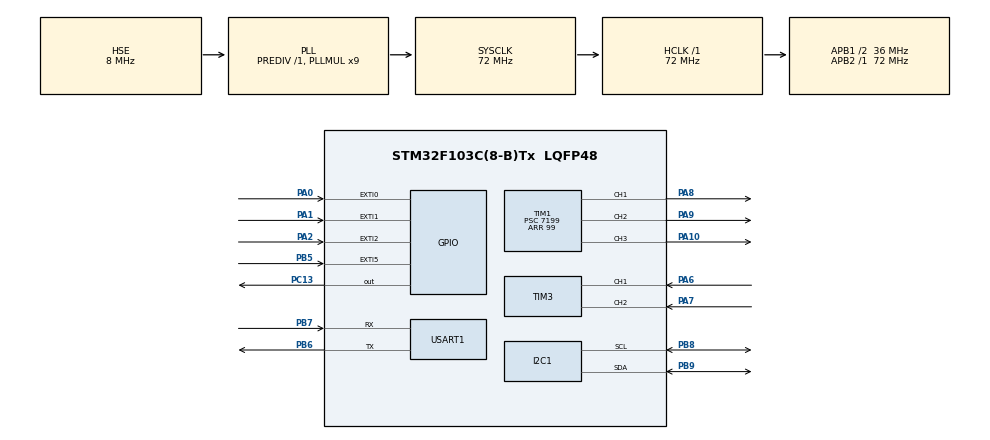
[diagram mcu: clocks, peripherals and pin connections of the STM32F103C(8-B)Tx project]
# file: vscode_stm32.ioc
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I2C1.I2C_Mode=I2C_Fast
Mcu.Family=STM32F1
Mcu.Name=STM32F103C(8-B)Tx
Mcu.Package=LQFP48
NVIC.EXTI0_IRQn=true\:0\:0\:true\:false\:true\:true\:true\:true
NVIC.EXTI1_IRQn=true\:0\:0\:false\:false\:true\:true\:true\:true
NVIC.EXTI2_IRQn=true\:0\:0\:false\:false\:true\:true\:true\:true
NVIC.EXTI9_5_IRQn=true\:0\:0\:false\:false\:true\:true\:true\:true
NVIC.PriorityGroup=NVIC_PRIORITYGROUP_4
NVIC.TIM2_IRQn=true\:0\:0\:false\:false\:true\:true\:true\:true
NVIC.USART1_IRQn=true\:0\:0\:false\:false\:true\:true\:true\:true
PA0-WKUP.GPIO_ModeDefaultEXTI=GPIO_MODE_IT_FALLING
PA0-WKUP.GPIO_PuPd=GPIO_PULLUP
PA0-WKUP.Signal=GPXTI0
PA1.GPIO_ModeDefaultEXTI=GPIO_MODE_IT_FALLING
PA1.GPIO_PuPd=GPIO_PULLUP
PA1.Signal=GPXTI1
PA10.Signal=S_TIM1_CH3
PA13.Mode=Serial_Wire
PA13.Signal=SYS_JTMS-SWDIO
PA14.Mode=Serial_Wire
PA14.Signal=SYS_JTCK-SWCLK
PA2.GPIO_ModeDefaultEXTI=GPIO_MODE_IT_FALLING
PA2.GPIO_PuPd=GPIO_PULLUP
PA2.Signal=GPXTI2
PA6.Signal=S_TIM3_CH1
PA7.Signal=S_TIM3_CH2
PA8.Signal=S_TIM1_CH1
PA9.Signal=S_TIM1_CH2
PB5.GPIO_ModeDefaultEXTI=GPIO_MODE_IT_FALLING
PB5.GPIO_PuPd=GPIO_PULLUP
PB5.Signal=GPXTI5
PB6.Mode=Asynchronous
PB6.Signal=USART1_TX
PB7.Mode=Asynchronous
PB7.Signal=USART1_RX
PB8.Mode=I2C
PB8.Signal=I2C1_SCL
PB9.Mode=I2C
PB9.Signal=I2C1_SDA
PC13-TAMPER-RTC.PinState=GPIO_PIN_SET
PC13-TAMPER-RTC.Signal=GPIO_Output
PD0-OSC_IN.Mode=HSE-External-Oscillator
PD0-OSC_IN.Signal=RCC_OSC_IN
PD1-OSC_OUT.Mode=HSE-External-Oscillator
PD1-OSC_OUT.Signal=RCC_OSC_OUT
ProjectManager.HeapSize=0x200
ProjectManager.StackSize=0x400
ProjectManager.TargetToolchain=CMake
RCC.AHBFreq_Value=72000000
RCC.APB1CLKDivider=RCC_HCLK_DIV2
RCC.APB1Freq_Value=36000000
RCC.APB1TimFreq_Value=72000000
RCC.APB2Freq_Value=72000000
RCC.APB2TimFreq_Value=72000000
RCC.HCLKFreq_Value=72000000
RCC.PLLMUL=RCC_PLL_MUL9
RCC.PLLSourceVirtual=RCC_PLLSOURCE_HSE
RCC.SYSCLKFreq_VALUE=72000000
RCC.SYSCLKSource=RCC_SYSCLKSOURCE_PLLCLK
RCC.USBFreq_Value=72000000
SH.S_TIM1_CH1.0=TIM1_CH1,PWM Generation1 CH1
SH.S_TIM1_CH2.0=TIM1_CH2,PWM Generation2 CH2
SH.S_TIM1_CH3.0=TIM1_CH3,PWM Generation3 CH3
SH.S_TIM3_CH1.0=TIM3_CH1,Encoder_Interface
SH.S_TIM3_CH2.0=TIM3_CH2,Encoder_Interface
TIM1.AutoReloadPreload=TIM_AUTORELOAD_PRELOAD_ENABLE
TIM1.Channel-PWM\ Generation1\ CH1=TIM_CHANNEL_1
TIM1.Channel-PWM\ Generation2\ CH2=TIM_CHANNEL_2
TIM1.Channel-PWM\ Generation3\ CH3=TIM_CHANNEL_3
TIM1.Period=99
TIM1.Prescaler=7199
TIM2.Prescaler=7199
TIM3.AutoReloadPreload=TIM_AUTORELOAD_PRELOAD_DISABLE
TIM3.ClockDivision=TIM_CLOCKDIVISION_DIV1
TIM3.EncoderMode=TIM_ENCODERMODE_TI12
TIM3.TIM_MasterSlaveMode=TIM_MASTERSLAVEMODE_DISABLE
USART1.VirtualMode=VM_ASYNC
VP_TIM2_VS_ClockSourceINT.Mode=Internal
board=custom

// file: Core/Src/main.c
/* USER CODE BEGIN Header */
/**
  ******************************************************************************
  * @file           : main.c
  * @brief          : Main program body
  ******************************************************************************
  * @attention
  *
  * Copyright (c) 2026 STMicroelectronics.
  * All rights reserved.
  *
  * This software is licensed under terms that can be found in the LICENSE file
  * in the root directory of this software component.
  * If no LICENSE file comes with this software, it is provided AS-IS.
  *
  ******************************************************************************
  */
/* USER CODE END Header */
#include "main.h"

/* USER CODE BEGIN Includes */
#include "stm32f103xb.h"
#include "stm32f1xx_hal.h"
#include "stm32f1xx_hal_def.h"
#include "stm32f1xx_hal_gpio.h"
#include "stm32f1xx_hal_i2c.h"
#include "stm32f1xx_hal_uart.h"
#include "stm32f1xx_hal_tim.h"
#include "stm32f1xx_hal_tim_ex.h"
#include <stdint.h>
#include <stdio.h>
#include <string.h>
#include <sys/_intsup.h>
#include "OLED.h"
/* USER CODE END Includes */

I2C_HandleTypeDef hi2c1;

TIM_HandleTypeDef htim1;
TIM_HandleTypeDef htim2;
TIM_HandleTypeDef htim3;

UART_HandleTypeDef huart1;

/* USER CODE BEGIN PV */
/* ===== 串口收数字用 ===== */
uint8_t num_buf[10];
uint8_t num_idx = 0;

/* ===== 系统工作模式 ===== */
typedef enum {
    mode_idle = 0,
    mode_running = 1,
    mode_load = 2,
    mode_shark = 3
} system_mode_t;

/* ===== 编码器工作模式 ===== */
typedef enum {
    led_default_mode = 0,
    led_brights_mode,
    led_turn_mode
} turn_mode_t;

/* ===== 编码器 / PWM 变量 ===== */
volatile turn_mode_t led_mode = led_default_mode;
volatile uint32_t t3_last_cnt = 0;
volatile uint8_t mode_press_flag = 0;
volatile uint8_t led_bright = 50;
volatile uint8_t encoder_flag = 0;

/* ===== LED模式变量 ===== */
volatile system_mode_t current_mode = mode_idle;
system_mode_t last_mode = (system_mode_t)99;   /* 初始设成"不等于任何模式"，让OLED首次刷新成立 */

/* ===== 按键中断变量 ===== */
volatile uint8_t key_press = 0;
volatile uint8_t system_state = 0;

/* ===== 串口通信变量 ===== */
volatile uint8_t receive_status = 0;
const char *mode_name[] = {"IDLE", "RUNNING", "LOAD", "SHARK"};
uint8_t rx_buffer[1];
uint32_t last_uart_tick = 0;

/* ===== OLED按需刷新 ===== */
uint8_t last_bright = 0;
turn_mode_t last_led_mode = (turn_mode_t)99;  /* 初始特殊值，确保首次刷新成立 */

/* ===== 板载LED非阻塞闪烁 ===== */
volatile uint16_t bright_speed = 500;
uint32_t last_led_tick = 0;
uint32_t blink_timer = 0;
/* USER CODE END PV */

void SystemClock_Config(void);
static void MX_GPIO_Init(void);
static void MX_USART1_UART_Init(void);
static void MX_I2C1_Init(void);
static void MX_TIM1_Init(void);
static void MX_TIM3_Init(void);
static void MX_TIM2_Init(void);
/* USER CODE BEGIN PFP */
void Serial_ProcessChar(uint8_t ch);  // 串口命令处理函数声明
/* USER CODE END PFP */

int main(void)
{

  /* MCU Configuration--------------------------------------------------------*/

  /* Reset of all peripherals, Initializes the Flash interface and the Systick. */
  HAL_Init();

  /* Configure the system clock */
  SystemClock_Config();

  /* Initialize all configured peripherals */
  MX_GPIO_Init();
  MX_USART1_UART_Init();
  MX_I2C1_Init();
  MX_TIM1_Init();
  MX_TIM3_Init();
  MX_TIM2_Init();
  /* USER CODE BEGIN 2 */
  /* ========== 关键修复：强制把EXTI线5映射到GPIOB ==========
       STM32F1每条EXTI线(0-15)需要配置它连到哪个端口
       AFIO_EXTICR2寄存器的bit[10:8]控制EXTI5:
         000 = GPIOA (默认)
         001 = GPIOB  ← 我们需要
       PA0/PA1/PA2在EXTI0/1/2，它们默认映射GPIOA所以正常
       PB5在EXTI5，如果不改配置，按下PB5永远触发不了中断！ */
    __HAL_RCC_AFIO_CLK_ENABLE();            /* 先开AFIO时钟（CubeMX可能漏了） */
    AFIO->EXTICR[1] &= ~(0x7 << 8);          /* 清bit[10:8] */
    AFIO->EXTICR[1] |=  (0x1 << 8);          /* 设为001 = 映射到GPIOB */

    /* OLED初始化 */
    OLED_Init();
    OLED_ShowString(1, 1, "LED CONTROL");

    /* TIM2定时上报（每2秒中断一次） */
    HAL_TIM_Base_Start_IT(&htim2);

    /* TIM3编码器模式（PA6/PA7） */
    HAL_TIM_Encoder_Start(&htim3, TIM_CHANNEL_ALL);

    /* TIM1 PWM模式（PA8/PA9/PA10 = 3路灯珠） */
    HAL_TIM_PWM_Start(&htim1, TIM_CHANNEL_1);
    HAL_TIM_PWM_Start(&htim1, TIM_CHANNEL_2);
    HAL_TIM_PWM_Start(&htim1, TIM_CHANNEL_3);

    /* 设置初始占空比 = led_bright(50) */
    __HAL_TIM_SET_COMPARE(&htim1, TIM_CHANNEL_1, led_bright);
    __HAL_TIM_SET_COMPARE(&htim1, TIM_CHANNEL_2, led_bright);
    __HAL_TIM_SET_COMPARE(&htim1, TIM_CHANNEL_3, led_bright);

    /* 开启串口中断接收 */
    HAL_UART_Receive_IT(&huart1, rx_buffer, 1);

    /* 记录编码器初始值 */
    t3_last_cnt = TIM3->CNT;
  /* USER CODE END 2 */

  /* Infinite loop */
  /* USER CODE BEGIN WHILE */
  while (1) {

    uint32_t now_cnt = TIM3->CNT;
    uint32_t now = HAL_GetTick();

    /* ===== 板载LED非阻塞闪烁 ===== */
   if (now - last_led_tick >= bright_speed) {
        HAL_GPIO_TogglePin(GPIOC, GPIO_PIN_13);
        last_led_tick = now;
    }

    // 快闪1秒后恢复慢闪
    if (bright_speed == 300 && (now - blink_timer) > 2000) {  // 快闪2秒后恢复，速度从100ms放宽到300ms
        bright_speed = 500;
    }

    /* ===== 编码器处理：根据 led_mode 执行不同操作 ===== */
    switch (led_mode) {
        case led_default_mode:
            /* 不响应旋转 */
            break;

        case led_brights_mode:
            /* 旋转 → 调亮度(步进5) */
            if (now_cnt > t3_last_cnt) {
                if (led_bright < 99) {
                    led_bright += 5;
                    encoder_flag = 1;
                }
            } else if (now_cnt < t3_last_cnt) {
                if (led_bright > 0) {
                    led_bright -= 5;
                    encoder_flag = 1;
                }
            }
            __HAL_TIM_SET_COMPARE(&htim1, TIM_CHANNEL_1, led_bright);
            __HAL_TIM_SET_COMPARE(&htim1, TIM_CHANNEL_2, led_bright);
            __HAL_TIM_SET_COMPARE(&htim1, TIM_CHANNEL_3, led_bright);
            break;

        case led_turn_mode:
            /* 旋转 → 切模式 */
            if (now_cnt > t3_last_cnt) {
                current_mode = (current_mode + 1) % 4;
                encoder_flag = 1;
            } else if (now_cnt < t3_last_cnt) {
                current_mode = (current_mode - 1 + 4) % 4;
                encoder_flag = 1;
            }
            break;

        default:
            break;
    }
    t3_last_cnt = now_cnt;

    /* ===== 编码器按键(PB5)：切 led_mode ===== */
    if (mode_press_flag != 0) {
        led_mode = (led_mode + 1) % 3;  /* 循环切换编码器模式：default → brights → turn → default */
        encoder_flag = 1;                /* 触发板载LED快闪反馈，让用户知道操作成功 */

        /* 新增：按下PB5后，串口同步通知电脑当前编码器模式，
           避免之前"切了模式但串口永远显示IDLE"的问题 */
        {
            char send_buf[60];
            switch (led_mode) {
                case led_default_mode:  sprintf(send_buf, "Encoder: IDLE (rotary does nothing)\r\n"); break;
                case led_brights_mode: sprintf(send_buf, "Encoder: BRIGHT (rotary adjusts brightness)\r\n"); break;
                case led_turn_mode:    sprintf(send_buf, "Encoder: MODE (rotary changes LED pattern)\r\n"); break;
            }
            HAL_UART_Transmit(&huart1, (uint8_t*)send_buf, strlen(send_buf), HAL_MAX_DELAY);
        }

        mode_press_flag = 0;
        system_state = 0;                /* 必须重置，否则下一次按键进不了中断 */
    }

    /* ===== 编码器操作成功反馈：板载LED快闪1秒 ===== */
    if (encoder_flag != 0) {
        bright_speed = 300;//编码器操作反馈：300ms翻转一次，比原来慢3倍，看得更清楚
        blink_timer = HAL_GetTick();
        encoder_flag = 0;
    }

    /* ===== OLED模式刷新：只有 current_mode 变了才重画 ===== */
    if (current_mode != last_mode) {
        OLED_Clear();
        OLED_ShowString(1, 1, "LED CONTROL");
        switch (current_mode) {
            case mode_idle:    OLED_ShowString(2, 1, "Mode: IDLE   "); break;
            case mode_running: OLED_ShowString(2, 1, "Mode: RUNNING"); break;
            case mode_load:    OLED_ShowString(2, 1, "Mode: LOAD   "); break;
            case mode_shark:   OLED_ShowString(2, 1, "Mode: SHARK  "); break;
        }
        last_mode = current_mode;
    }

    /* ===== OLED亮度刷新：只有亮度变了才刷新 ===== */
    if (led_bright != last_bright) {
        char buf[20];
        sprintf(buf, "BRIGHT: %d   ", led_bright);
        OLED_ShowString(3, 1, buf);
        last_bright = led_bright;
    }

    /* ===== OLED编码器模式刷新：第4行显示当前编码器模式 ===== */
    if (led_mode != last_led_mode) {
        switch (led_mode) {
            case led_default_mode:
                OLED_ShowString(4, 1, "ENC: IDLE    ");
                break;
            case led_brights_mode:
                OLED_ShowString(4, 1, "ENC: BRIGHT  ");
                break;
            case led_turn_mode:
                OLED_ShowString(4, 1, "ENC: MODE    ");
                break;
        }
        last_led_mode = led_mode;
    }

    /* ===== 板载按键(PA0/PA1/PA2)：直接切模式 ===== */
    if (key_press != 0) {
        uint8_t key = key_press;
        HAL_Delay(20);
        GPIO_PinState level = GPIO_PIN_SET;
        if (key == 1)       level = HAL_GPIO_ReadPin(GPIOA, GPIO_PIN_0);
        else if (key == 2)  level = HAL_GPIO_ReadPin(GPIOA, GPIO_PIN_1);
        else if (key == 3)  level = HAL_GPIO_ReadPin(GPIOA, GPIO_PIN_2);

        if (level == GPIO_PIN_RESET) {
            switch (key) {
                case 1: current_mode = mode_running; break;
                case 2: current_mode = mode_load;    break;
                case 3: current_mode = mode_shark;   break;
            }
        }
        system_state = 0;
        key_press = 0;帮我检查当前代码，如果没坏的话，最好是能够正常实现项目效果。
    }

    /* ===== LED灯珠动画（各模式） ===== */
    switch (current_mode) {
        case mode_idle:
            /* 全灭 */
            __HAL_TIM_SET_COMPARE(&htim1, TIM_CHANNEL_1, 0);
            __HAL_TIM_SET_COMPARE(&htim1, TIM_CHANNEL_2, 0);
            __HAL_TIM_SET_COMPARE(&htim1, TIM_CHANNEL_3, 0);
            break;

        case mode_running:
            /* 流水灯：PA8 → PA9 → PA10 */
            __HAL_TIM_SET_COMPARE(&htim1, TIM_CHANNEL_1, led_bright);
            HAL_Delay(200);
            __HAL_TIM_SET_COMPARE(&htim1, TIM_CHANNEL_1, 0);

            __HAL_TIM_SET_COMPARE(&htim1, TIM_CHANNEL_2, led_bright);
            HAL_Delay(200);
            __HAL_TIM_SET_COMPARE(&htim1, TIM_CHANNEL_2, 0);

            __HAL_TIM_SET_COMPARE(&htim1, TIM_CHANNEL_3, led_bright);
            HAL_Delay(200);
            __HAL_TIM_SET_COMPARE(&htim1, TIM_CHANNEL_3, 0);

            HAL_Delay(300);
            break;

        case mode_shark:
            /* 两端 vs 中间：PA8+PA10 ↔ PA9 */
            __HAL_TIM_SET_COMPARE(&htim1, TIM_CHANNEL_1, led_bright);
            __HAL_TIM_SET_COMPARE(&htim1, TIM_CHANNEL_3, led_bright);
            __HAL_TIM_SET_COMPARE(&htim1, TIM_CHANNEL_2, 0);
            HAL_Delay(300);

            __HAL_TIM_SET_COMPARE(&htim1, TIM_CHANNEL_1, 0);
            __HAL_TIM_SET_COMPARE(&htim1, TIM_CHANNEL_3, 0);
            __HAL_TIM_SET_COMPARE(&htim1, TIM_CHANNEL_2, led_bright);
            HAL_Delay(300);
            break;

        case mode_load:
            /* 全亮 */
            __HAL_TIM_SET_COMPARE(&htim1, TIM_CHANNEL_1, led_bright);
            __HAL_TIM_SET_COMPARE(&htim1, TIM_CHANNEL_2, led_bright);
            __HAL_TIM_SET_COMPARE(&htim1, TIM_CHANNEL_3, led_bright);
            break;
    }

    /* ===== 串口命令处理 ===== */
    if (receive_status != 0) {
        Serial_ProcessChar(rx_buffer[0]);
        receive_status = 0;
    }

    /* ===== 串口2秒定时上报 ===== */
    if (HAL_GetTick() - last_uart_tick >= 2000) {
        char buf1[40];
        sprintf(buf1, "Current Brightness = %d\r\n", led_bright);
        HAL_UART_Transmit(&huart1, (uint8_t*)buf1, strlen(buf1), HAL_MAX_DELAY);
        last_uart_tick = HAL_GetTick();
    }
}
    /* USER CODE END WHILE */

}

void SystemClock_Config(void)
{
  RCC_OscInitTypeDef RCC_OscInitStruct = {0};
  RCC_ClkInitTypeDef RCC_ClkInitStruct = {0};

  /** Initializes the RCC Oscillators according to the specified parameters
  * in the RCC_OscInitTypeDef structure.
  */
  RCC_OscInitStruct.OscillatorType = RCC_OSCILLATORTYPE_HSE;
  RCC_OscInitStruct.HSEState = RCC_HSE_ON;
  RCC_OscInitStruct.HSEPredivValue = RCC_HSE_PREDIV_DIV1;
  RCC_OscInitStruct.HSIState = RCC_HSI_ON;
  RCC_OscInitStruct.PLL.PLLState = RCC_PLL_ON;
  RCC_OscInitStruct.PLL.PLLSource = RCC_PLLSOURCE_HSE;
  RCC_OscInitStruct.PLL.PLLMUL = RCC_PLL_MUL9;
  if (HAL_RCC_OscConfig(&RCC_OscInitStruct) != HAL_OK)
  {
    Error_Handler();
  }

  /** Initializes the CPU, AHB and APB buses clocks
  */
  RCC_ClkInitStruct.ClockType = RCC_CLOCKTYPE_HCLK|RCC_CLOCKTYPE_SYSCLK
                              |RCC_CLOCKTYPE_PCLK1|RCC_CLOCKTYPE_PCLK2;
  RCC_ClkInitStruct.SYSCLKSource = RCC_SYSCLKSOURCE_PLLCLK;
  RCC_ClkInitStruct.AHBCLKDivider = RCC_SYSCLK_DIV1;
  RCC_ClkInitStruct.APB1CLKDivider = RCC_HCLK_DIV2;
  RCC_ClkInitStruct.APB2CLKDivider = RCC_HCLK_DIV1;

  if (HAL_RCC_ClockConfig(&RCC_ClkInitStruct, FLASH_LATENCY_2) != HAL_OK)
  {
    Error_Handler();
  }
}

static void MX_I2C1_Init(void)
{

  hi2c1.Instance = I2C1;
  hi2c1.Init.ClockSpeed = 400000;
  hi2c1.Init.DutyCycle = I2C_DUTYCYCLE_2;
  hi2c1.Init.OwnAddress1 = 0;
  hi2c1.Init.AddressingMode = I2C_ADDRESSINGMODE_7BIT;
  hi2c1.Init.DualAddressMode = I2C_DUALADDRESS_DISABLE;
  hi2c1.Init.OwnAddress2 = 0;
  hi2c1.Init.GeneralCallMode = I2C_GENERALCALL_DISABLE;
  hi2c1.Init.NoStretchMode = I2C_NOSTRETCH_DISABLE;
  if (HAL_I2C_Init(&hi2c1) != HAL_OK)
  {
    Error_Handler();
  }

}

static void MX_TIM1_Init(void)
{

  TIM_MasterConfigTypeDef sMasterConfig = {0};
  TIM_OC_InitTypeDef sConfigOC = {0};
  TIM_BreakDeadTimeConfigTypeDef sBreakDeadTimeConfig = {0};

  htim1.Instance = TIM1;
  htim1.Init.Prescaler = 7199;
  htim1.Init.CounterMode = TIM_COUNTERMODE_UP;
  htim1.Init.Period = 99;
  htim1.Init.ClockDivision = TIM_CLOCKDIVISION_DIV1;
  htim1.Init.RepetitionCounter = 0;
  htim1.Init.AutoReloadPreload = TIM_AUTORELOAD_PRELOAD_ENABLE;
  if (HAL_TIM_PWM_Init(&htim1) != HAL_OK)
  {
    Error_Handler();
  }
  sMasterConfig.MasterOutputTrigger = TIM_TRGO_RESET;
  sMasterConfig.MasterSlaveMode = TIM_MASTERSLAVEMODE_DISABLE;
  if (HAL_TIMEx_MasterConfigSynchronization(&htim1, &sMasterConfig) != HAL_OK)
  {
    Error_Handler();
  }
  sConfigOC.OCMode = TIM_OCMODE_PWM1;
  sConfigOC.Pulse = 0;
  sConfigOC.OCPolarity = TIM_OCPOLARITY_HIGH;
  sConfigOC.OCNPolarity = TIM_OCNPOLARITY_HIGH;
  sConfigOC.OCFastMode = TIM_OCFAST_DISABLE;
  sConfigOC.OCIdleState = TIM_OCIDLESTATE_RESET;
  sConfigOC.OCNIdleState = TIM_OCNIDLESTATE_RESET;
  if (HAL_TIM_PWM_ConfigChannel(&htim1, &sConfigOC, TIM_CHANNEL_1) != HAL_OK)
  {
    Error_Handler();
  }
  if (HAL_TIM_PWM_ConfigChannel(&htim1, &sConfigOC, TIM_CHANNEL_2) != HAL_OK)
  {
    Error_Handler();
  }
  if (HAL_TIM_PWM_ConfigChannel(&htim1, &sConfigOC, TIM_CHANNEL_3) != HAL_OK)
  {
    Error_Handler();
  }
  sBreakDeadTimeConfig.OffStateRunMode = TIM_OSSR_DISABLE;
  sBreakDeadTimeConfig.OffStateIDLEMode = TIM_OSSI_DISABLE;
  sBreakDeadTimeConfig.LockLevel = TIM_LOCKLEVEL_OFF;
  sBreakDeadTimeConfig.DeadTime = 0;
  sBreakDeadTimeConfig.BreakState = TIM_BREAK_DISABLE;
  sBreakDeadTimeConfig.BreakPolarity = TIM_BREAKPOLARITY_HIGH;
  sBreakDeadTimeConfig.AutomaticOutput = TIM_AUTOMATICOUTPUT_DISABLE;
  if (HAL_TIMEx_ConfigBreakDeadTime(&htim1, &sBreakDeadTimeConfig) != HAL_OK)
  {
    Error_Handler();
  }
  HAL_TIM_MspPostInit(&htim1);

}

static void MX_TIM2_Init(void)
{

  TIM_ClockConfigTypeDef sClockSourceConfig = {0};
  TIM_MasterConfigTypeDef sMasterConfig = {0};

  htim2.Instance = TIM2;
  htim2.Init.Prescaler = 7199;
  htim2.Init.CounterMode = TIM_COUNTERMODE_UP;
  htim2.Init.Period = 9999;
  htim2.Init.ClockDivision = TIM_CLOCKDIVISION_DIV1;
  htim2.Init.AutoReloadPreload = TIM_AUTORELOAD_PRELOAD_DISABLE;
  if (HAL_TIM_Base_Init(&htim2) != HAL_OK)
  {
    Error_Handler();
  }
  sClockSourceConfig.ClockSource = TIM_CLOCKSOURCE_INTERNAL;
  if (HAL_TIM_ConfigClockSource(&htim2, &sClockSourceConfig) != HAL_OK)
  {
    Error_Handler();
  }
  sMasterConfig.MasterOutputTrigger = TIM_TRGO_RESET;
  sMasterConfig.MasterSlaveMode = TIM_MASTERSLAVEMODE_DISABLE;
  if (HAL_TIMEx_MasterConfigSynchronization(&htim2, &sMasterConfig) != HAL_OK)
  {
    Error_Handler();
  }

}

static void MX_TIM3_Init(void)
{

  TIM_Encoder_InitTypeDef sConfig = {0};
  TIM_MasterConfigTypeDef sMasterConfig = {0};

  htim3.Instance = TIM3;
  htim3.Init.Prescaler = 0;
  htim3.Init.CounterMode = TIM_COUNTERMODE_UP;
  htim3.Init.Period = 65535;
  htim3.Init.ClockDivision = TIM_CLOCKDIVISION_DIV1;
  htim3.Init.AutoReloadPreload = TIM_AUTORELOAD_PRELOAD_DISABLE;
  sConfig.EncoderMode = TIM_ENCODERMODE_TI12;
  sConfig.IC1Polarity = TIM_ICPOLARITY_RISING;
  sConfig.IC1Selection = TIM_ICSELECTION_DIRECTTI;
  sConfig.IC1Prescaler = TIM_ICPSC_DIV1;
  sConfig.IC1Filter = 0;
  sConfig.IC2Polarity = TIM_ICPOLARITY_RISING;
  sConfig.IC2Selection = TIM_ICSELECTION_DIRECTTI;
  sConfig.IC2Prescaler = TIM_ICPSC_DIV1;
  sConfig.IC2Filter = 0;
  if (HAL_TIM_Encoder_Init(&htim3, &sConfig) != HAL_OK)
  {
    Error_Handler();
  }
  sMasterConfig.MasterOutputTrigger = TIM_TRGO_RESET;
  sMasterConfig.MasterSlaveMode = TIM_MASTERSLAVEMODE_DISABLE;
  if (HAL_TIMEx_MasterConfigSynchronization(&htim3, &sMasterConfig) != HAL_OK)
  {
    Error_Handler();
  }

}

static void MX_USART1_UART_Init(void)
{

  huart1.Instance = USART1;
  huart1.Init.BaudRate = 115200;
  huart1.Init.WordLength = UART_WORDLENGTH_8B;
  huart1.Init.StopBits = UART_STOPBITS_1;
  huart1.Init.Parity = UART_PARITY_NONE;
  huart1.Init.Mode = UART_MODE_TX_RX;
  huart1.Init.HwFlowCtl = UART_HWCONTROL_NONE;
  huart1.Init.OverSampling = UART_OVERSAMPLING_16;
  if (HAL_UART_Init(&huart1) != HAL_OK)
  {
    Error_Handler();
  }

}

static void MX_GPIO_Init(void)
{
  GPIO_InitTypeDef GPIO_InitStruct = {0};

  /* GPIO Ports Clock Enable */
  __HAL_RCC_GPIOC_CLK_ENABLE();
  __HAL_RCC_GPIOD_CLK_ENABLE();
  __HAL_RCC_GPIOA_CLK_ENABLE();
  __HAL_RCC_GPIOB_CLK_ENABLE();

  /*Configure GPIO pin Output Level */
  HAL_GPIO_WritePin(GPIOC, GPIO_PIN_13, GPIO_PIN_SET);

  /*Configure GPIO pin : PC13 */
  GPIO_InitStruct.Pin = GPIO_PIN_13;
  GPIO_InitStruct.Mode = GPIO_MODE_OUTPUT_PP;
  GPIO_InitStruct.Pull = GPIO_NOPULL;
  GPIO_InitStruct.Speed = GPIO_SPEED_FREQ_LOW;
  HAL_GPIO_Init(GPIOC, &GPIO_InitStruct);

  /*Configure GPIO pins : PA0 PA1 PA2 */
  GPIO_InitStruct.Pin = GPIO_PIN_0|GPIO_PIN_1|GPIO_PIN_2;
  GPIO_InitStruct.Mode = GPIO_MODE_IT_FALLING;
  GPIO_InitStruct.Pull = GPIO_PULLUP;
  HAL_GPIO_Init(GPIOA, &GPIO_InitStruct);

  /*Configure GPIO pin : PB5 */
  GPIO_InitStruct.Pin = GPIO_PIN_5;
  GPIO_InitStruct.Mode = GPIO_MODE_IT_FALLING;
  GPIO_InitStruct.Pull = GPIO_PULLUP;
  HAL_GPIO_Init(GPIOB, &GPIO_InitStruct);

  /* EXTI interrupt init*/
  HAL_NVIC_SetPriority(EXTI0_IRQn, 0, 0);
  HAL_NVIC_EnableIRQ(EXTI0_IRQn);

  HAL_NVIC_SetPriority(EXTI1_IRQn, 0, 0);
  HAL_NVIC_EnableIRQ(EXTI1_IRQn);

  HAL_NVIC_SetPriority(EXTI2_IRQn, 0, 0);
  HAL_NVIC_EnableIRQ(EXTI2_IRQn);

  HAL_NVIC_SetPriority(EXTI9_5_IRQn, 0, 0);
  HAL_NVIC_EnableIRQ(EXTI9_5_IRQn);

}

/* USER CODE BEGIN 4 */

/* ===== 串口单字符命令处理（主循环中调用） ===== */
void Serial_ProcessChar(uint8_t ch)
{
    switch (ch) {
        case '1': current_mode = mode_running; break;
        case '2': current_mode = mode_load;    break;
        case '3': current_mode = mode_shark;   break;
        case '0': current_mode = mode_idle;    break;
        case '+':
        case 'u':
            if (led_bright < 99) led_bright += 5;
            break;
        case '-':
        case 'd':
            if (led_bright > 0)  led_bright -= 5;
            break;
        default:
            return;  /* 非法命令直接返回 */
    }

    /* 命令处理成功后，回传当前状态到电脑 */
    char send_buf[64];
    sprintf(send_buf, "Mode=%s, Brightness=%d\r\n", mode_name[current_mode], led_bright);
    HAL_UART_Transmit(&huart1, (uint8_t*)send_buf, strlen(send_buf), HAL_MAX_DELAY);
}

/* ===== TIM2溢出中断：每2秒定时上报当前模式 ===== */
void HAL_TIM_PeriodElapsedCallback(TIM_HandleTypeDef *htim)
{
    if (htim->Instance == TIM2) {
        char send_buf[50];
         /* 把"只打印LED模式"升级为"同时打印LED模式/编码器模式/亮度值"，
           这样就能看到PB5切换后编码器模式的变化了 */
        {
            char enc_name[10];
            if (led_mode == led_default_mode)       strcpy(enc_name, "IDLE");
            else if (led_mode == led_brights_mode) strcpy(enc_name, "BRIGHT");
            else                                    strcpy(enc_name, "MODE");
            sprintf(send_buf, "LED=%s, Enc=%s, Bright=%d\r\n",
                    mode_name[current_mode], enc_name, led_bright);
        }
        HAL_UART_Transmit(&huart1, (uint8_t*)send_buf, strlen(send_buf), HAL_MAX_DELAY);
    }
}

/* ===== 串口接收完成中断（逐个字节接收） ===== */
void HAL_UART_RxCpltCallback(UART_HandleTypeDef *huart)
{
    if (huart->Instance != USART1)
        return;

    uint8_t ch = rx_buffer[0];

    /* 1) 收到回车/换行 → 把缓冲区里累计的数字转成亮度值 */
    if (ch == '\r' || ch == '\n') {
        if (num_idx > 0) {
            num_buf[num_idx] = '\0';
            uint32_t val = 0;
            for (int i = 0; num_buf[i] != '\0'; i++) {
                if (num_buf[i] >= '0' && num_buf[i] <= '9') {
                    val = val * 10 + (num_buf[i] - '0');  /* 字符 → 数字 */
                }
            }
            if (val > 99) val = 99;
            led_bright = (uint8_t)val;

            /* 回传确认 */
            char ack[40];
            sprintf(ack, "OK, Brightness=%d\r\n", led_bright);
            HAL_UART_Transmit(&huart1, (uint8_t*)ack, strlen(ack), HAL_MAX_DELAY);

            num_idx = 0;
        }
    }
    /* 2) 收到数字字符 → 放进缓冲区 */
    else if (ch >= '0' && ch <= '9' && num_idx < 9) {
        num_buf[num_idx++] = ch;
    }
    /* 3) 其他字符 → 当作单字符命令处理 */
    else {
        Serial_ProcessChar(ch);
        num_idx = 0;
    }

    /* 重新开启下一次中断接收 */
    HAL_UART_Receive_IT(&huart1, rx_buffer, 1);
}

/* ===== EXTI外部中断回调（按键按下触发） ===== */
void HAL_GPIO_EXTI_Callback(uint16_t GPIO_PIN)
{
  /* PB5编码器按键：最高优先级，直接处理，不受system_state限制 */
    if (GPIO_PIN == GPIO_PIN_5) {
        mode_press_flag = 1;
        return;
    }

    /* 板载按键(PA0/PA1/PA2)：仍然用system_state做软件防抖 */
    if (system_state != 0)
        return;

    if (GPIO_PIN == GPIO_PIN_0) {         /* 按键1(PA0) */
        key_press = 1;
        system_state = 1;
    } else if (GPIO_PIN == GPIO_PIN_1) {  /* 按键2(PA1) */
        key_press = 2;
        system_state = 1;
    } else if (GPIO_PIN == GPIO_PIN_2) {  /* 按键3(PA2) */
        key_press = 3;
        system_state = 1;
    }
}
/* USER CODE END 4 */

void Error_Handler(void)
{
  __disable_irq();
  while (1)
  {
  }
}
